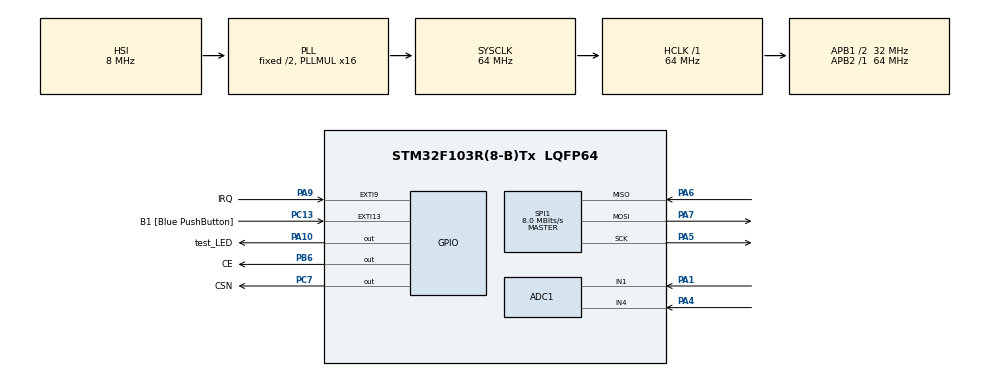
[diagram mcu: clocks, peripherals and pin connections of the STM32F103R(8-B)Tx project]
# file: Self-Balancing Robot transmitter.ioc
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ADC1.Channel-2\#ChannelRegularConversion=ADC_CHANNEL_1
ADC1.Channel-3\#ChannelRegularConversion=ADC_CHANNEL_4
ADC1.ContinuousConvMode=ENABLE
ADC1.DiscontinuousConvMode=DISABLE
ADC1.NbrOfConversion=2
ADC1.NbrOfConversionFlag=1
ADC1.Rank-2\#ChannelRegularConversion=1
ADC1.Rank-3\#ChannelRegularConversion=2
ADC1.SamplingTime-2\#ChannelRegularConversion=ADC_SAMPLETIME_1CYCLE_5
ADC1.SamplingTime-3\#ChannelRegularConversion=ADC_SAMPLETIME_1CYCLE_5
ADC1.master=1
Mcu.Family=STM32F1
Mcu.Name=STM32F103R(8-B)Tx
Mcu.Package=LQFP64
NVIC.EXTI15_10_IRQn=true\:0\:0\:false\:false\:true\:true\:true\:true
NVIC.EXTI9_5_IRQn=true\:0\:0\:false\:false\:true\:true\:true\:true
NVIC.PriorityGroup=NVIC_PRIORITYGROUP_4
PA1.Signal=ADCx_IN1
PA10.GPIO_Label=test_LED
PA10.Signal=GPIO_Output
PA13.GPIO_Label=TMS
PA13.Mode=Serial_Wire
PA13.Signal=SYS_JTMS-SWDIO
PA14.GPIO_Label=TCK
PA14.Mode=Serial_Wire
PA14.Signal=SYS_JTCK-SWCLK
PA2.GPIO_Label=USART_TX
PA2.GPIO_Mode=GPIO_MODE_AF_PP
PA2.GPIO_PuPd=GPIO_NOPULL
PA2.GPIO_Speed=GPIO_SPEED_FREQ_LOW
PA2.Signal=USART2_TX
PA3.GPIO_Label=USART_RX
PA3.GPIO_Mode=GPIO_MODE_AF_PP
PA3.GPIO_PuPd=GPIO_NOPULL
PA3.GPIO_Speed=GPIO_SPEED_FREQ_LOW
PA3.Signal=USART2_RX
PA4.Signal=ADCx_IN4
PA5.Mode=Full_Duplex_Master
PA5.Signal=SPI1_SCK
PA6.Mode=Full_Duplex_Master
PA6.Signal=SPI1_MISO
PA7.Mode=Full_Duplex_Master
PA7.Signal=SPI1_MOSI
PA9.GPIO_Label=IRQ
PA9.GPIO_ModeDefaultEXTI=GPIO_MODE_IT_FALLING
PA9.Signal=GPXTI9
PB3.GPIO_Label=SWO
PB3.Signal=SYS_JTDO-TRACESWO
PB6.GPIO_Label=CE
PB6.Signal=GPIO_Output
PC13-TAMPER-RTC.GPIO_Label=B1 [Blue PushButton]
PC13-TAMPER-RTC.GPIO_ModeDefaultEXTI=GPIO_MODE_IT_FALLING
PC13-TAMPER-RTC.GPIO_PuPd=GPIO_NOPULL
PC13-TAMPER-RTC.Signal=GPXTI13
PC14-OSC32_IN.Signal=RCC_OSC32_IN
PC15-OSC32_OUT.Signal=RCC_OSC32_OUT
PC7.GPIO_Label=CSN
PC7.Signal=GPIO_Output
PD0-OSC_IN.Signal=RCC_OSC_IN
PD1-OSC_OUT.Signal=RCC_OSC_OUT
ProjectManager.HeapSize=0x200
ProjectManager.StackSize=0x400
ProjectManager.TargetToolchain=STM32CubeIDE
RCC.ADCPresc=RCC_ADCPCLK2_DIV8
RCC.AHBFreq_Value=64000000
RCC.APB1CLKDivider=RCC_HCLK_DIV2
RCC.APB1Freq_Value=32000000
RCC.APB1TimFreq_Value=64000000
RCC.APB2Freq_Value=64000000
RCC.APB2TimFreq_Value=64000000
RCC.HCLKFreq_Value=64000000
RCC.PLLMUL=RCC_PLL_MUL16
RCC.SYSCLKFreq_VALUE=64000000
RCC.SYSCLKSource=RCC_SYSCLKSOURCE_PLLCLK
RCC.USBFreq_Value=64000000
SH.ADCx_IN1.0=ADC1_IN1,IN1
SH.ADCx_IN4.0=ADC1_IN4,IN4
SPI1.BaudRatePrescaler=SPI_BAUDRATEPRESCALER_8
SPI1.CalculateBaudRate=8.0 MBits/s
SPI1.Direction=SPI_DIRECTION_2LINES
SPI1.Mode=SPI_MODE_MASTER
SPI1.VirtualType=VM_MASTER
board=NUCLEO-F103RB

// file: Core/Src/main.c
/* USER CODE BEGIN Header */
/**
  ******************************************************************************
  * @file           : main.c
  * @brief          : Main program body
  ******************************************************************************
  * @attention
  *
  * Copyright (c) 2024 STMicroelectronics.
  * All rights reserved.
  *
  * This software is licensed under terms that can be found in the LICENSE file
  * in the root directory of this software component.
  * If no LICENSE file comes with this software, it is provided AS-IS.
  *
  ******************************************************************************
  */
/* USER CODE END Header */
#include "main.h"
#include "adc.h"
#include "spi.h"
#include "gpio.h"

/* USER CODE BEGIN Includes */
#include <stdio.h>
#include "nrf24l01p.h"
/* USER CODE END Includes */

/* USER CODE BEGIN PTD */
//extern void initialise_monitor_handles(void);
/* USER CODE END PTD */

void SystemClock_Config(void);

/* USER CODE BEGIN 0 */
uint16_t adc_val_servo = 0;
uint16_t adc_val_motor = 0;
uint8_t tx_data[NRF24L01P_PAYLOAD_LENGTH] = {0};

void HAL_GPIO_EXTI_Callback(uint16_t GPIO_Pin);
/* USER CODE END 0 */

int main(void)
{

  /* USER CODE BEGIN 1 */
//    initialise_monitor_handles();
//    printf("Semihosting test\n");
  /* USER CODE END 1 */

  /* MCU Configuration--------------------------------------------------------*/

  /* Reset of all peripherals, Initializes the Flash interface and the Systick. */
  HAL_Init();

  /* Configure the system clock */
  SystemClock_Config();

  /* Initialize all configured peripherals */
  MX_GPIO_Init();
  MX_ADC1_Init();
  MX_SPI1_Init();

  /* Infinite loop */
  /* USER CODE BEGIN WHILE */
  nrf24l01p_tx_init(2500, _1Mbps);
  while (1)
  {
	  HAL_ADC_Start(&hadc1);

	  HAL_ADC_PollForConversion(&hadc1, 10);
	  adc_val_servo = HAL_ADC_GetValue(&hadc1);
	  adc_val_motor = HAL_ADC_GetValue(&hadc1);
//	  printf("wartosc serv = %d \n", adc_val_servo);

//	  printf("wartosc siln = %d \n", adc_val_motor);

	  HAL_ADC_Stop(&hadc1);

	  tx_data[0] = (uint8_t)(adc_val_servo >> 8);
	  tx_data[1] = (uint8_t)(adc_val_servo & 0xFF);

	  tx_data[2] = (uint8_t)(adc_val_motor >> 8);
	  tx_data[3] = (uint8_t)(adc_val_motor & 0xFF);

//	  printf("Transmitting ADC Servo: %d", adc_val_servo); // , ADC Motor: %d\n , adc_val_motor

//	  printf("Transmitting = %d \n", adc_val_servo);
	  nrf24l01p_tx_transmit(tx_data);

	  if (tx_data[1] > 100)
	  {
		  HAL_GPIO_WritePin(test_LED_GPIO_Port, test_LED_Pin, GPIO_PIN_SET);  // Turn on LED
	  }
	  else
	  {
		  HAL_GPIO_WritePin(test_LED_GPIO_Port, test_LED_Pin, GPIO_PIN_RESET);  // Turn off LED
	  }

	  HAL_Delay(10);

    /* USER CODE END WHILE */

  }
}

void SystemClock_Config(void)
{
  RCC_OscInitTypeDef RCC_OscInitStruct = {0};
  RCC_ClkInitTypeDef RCC_ClkInitStruct = {0};
  RCC_PeriphCLKInitTypeDef PeriphClkInit = {0};

  /** Initializes the RCC Oscillators according to the specified parameters
  * in the RCC_OscInitTypeDef structure.
  */
  RCC_OscInitStruct.OscillatorType = RCC_OSCILLATORTYPE_HSI;
  RCC_OscInitStruct.HSIState = RCC_HSI_ON;
  RCC_OscInitStruct.HSICalibrationValue = RCC_HSICALIBRATION_DEFAULT;
  RCC_OscInitStruct.PLL.PLLState = RCC_PLL_ON;
  RCC_OscInitStruct.PLL.PLLSource = RCC_PLLSOURCE_HSI_DIV2;
  RCC_OscInitStruct.PLL.PLLMUL = RCC_PLL_MUL16;
  if (HAL_RCC_OscConfig(&RCC_OscInitStruct) != HAL_OK)
  {
    Error_Handler();
  }

  /** Initializes the CPU, AHB and APB buses clocks
  */
  RCC_ClkInitStruct.ClockType = RCC_CLOCKTYPE_HCLK|RCC_CLOCKTYPE_SYSCLK
                              |RCC_CLOCKTYPE_PCLK1|RCC_CLOCKTYPE_PCLK2;
  RCC_ClkInitStruct.SYSCLKSource = RCC_SYSCLKSOURCE_PLLCLK;
  RCC_ClkInitStruct.AHBCLKDivider = RCC_SYSCLK_DIV1;
  RCC_ClkInitStruct.APB1CLKDivider = RCC_HCLK_DIV2;
  RCC_ClkInitStruct.APB2CLKDivider = RCC_HCLK_DIV1;

  if (HAL_RCC_ClockConfig(&RCC_ClkInitStruct, FLASH_LATENCY_2) != HAL_OK)
  {
    Error_Handler();
  }
  PeriphClkInit.PeriphClockSelection = RCC_PERIPHCLK_ADC;
  PeriphClkInit.AdcClockSelection = RCC_ADCPCLK2_DIV8;
  if (HAL_RCCEx_PeriphCLKConfig(&PeriphClkInit) != HAL_OK)
  {
    Error_Handler();
  }
}

/* USER CODE BEGIN 4 */
void HAL_GPIO_EXTI_Callback(uint16_t GPIO_Pin)
{
	if(GPIO_Pin == NRF24L01P_IRQ_PIN_NUMBER)
		nrf24l01p_tx_irq(); // clear interrupt flag
}

/* USER CODE END 4 */

void Error_Handler(void)
{
  __disable_irq();
  while (1)
  {
  }
}
